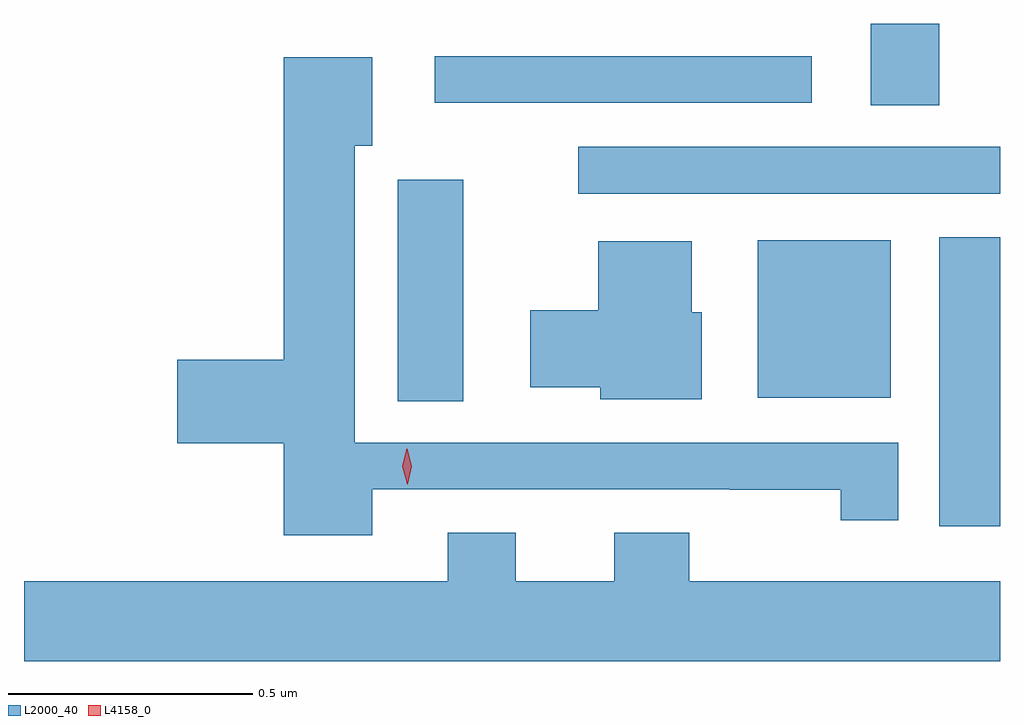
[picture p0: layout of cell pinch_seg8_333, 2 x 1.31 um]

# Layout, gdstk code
import gdstk
lib = gdstk.Library(unit=1e-6, precision=1e-09)
def R(c, l, rs):  # rectangles x0, y0, x1, y1
    for r in rs: c.add(gdstk.rectangle(r[:2], r[2:], *l))
def P(c, l, *ps):  # polygons
    for p in ps: c.add(gdstk.Polygon(p, *l))
L2000_40 = (2000, 40)
L4158_0 = (4158, 0)

pinch_seg8_333 = lib.new_cell('pinch_seg8_333')
R(pinch_seg8_333, L2000_40, [(598.928,1124.768,599.052,1125.361), (597.818,1125.025,597.952,1125.478), (598.556,1125.032,598.828,1125.355), (598.188,1125.45,599.052,1125.546), (598.787,1125.631,598.927,1125.798), (597.894,1125.636,598.666,1125.732)])
P(pinch_seg8_333, L2000_40, [(597.766,1124.844),(598.498,1124.844),(598.498,1124.843),(598.726,1124.843),(598.726,1124.781),(598.843,1124.781),(598.843,1124.94),(597.73,1124.94),(597.73,1125.548),(597.766,1125.548),(597.766,1125.73),(597.584,1125.73),(597.584,1125.11),(597.366,1125.11),(597.366,1124.939),(597.584,1124.939),(597.584,1124.75),(597.766,1124.75)],
  [(598.441,1125.207),(598.42,1125.207),(598.42,1125.352),(598.229,1125.352),(598.229,1125.211),(598.089,1125.211),(598.089,1125.053),(598.233,1125.053),(598.233,1125.029),(598.441,1125.029)],
  [(599.052,1124.656),(598.415,1124.656),(598.415,1124.755),(598.262,1124.755),(598.262,1124.656),(598.06,1124.656),(598.06,1124.755),(597.92,1124.755),(597.92,1124.656),(597.052,1124.656),(597.052,1124.492),(599.052,1124.492)])
P(pinch_seg8_333, L4158_0, [(597.837,1124.855),(597.827,1124.891),(597.836,1124.927),(597.837,1124.927),(597.837,1124.927),(597.847,1124.891),(597.838,1124.855),(597.838,1124.855)])

lib.write_gds('pinch_seg8_333.gds')
